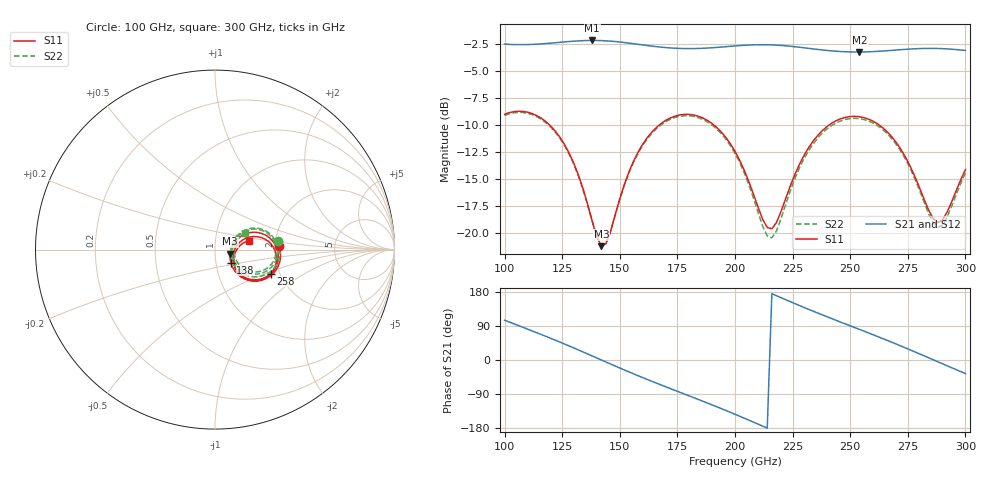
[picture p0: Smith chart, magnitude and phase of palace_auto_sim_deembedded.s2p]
! Created with skrf 1.11.0 (http://scikit-rf.org).
# GHz S DB R 50.0
!freq dBS11 angS11 dBS21 angS21 dBS12 angS12 dBS22 angS22
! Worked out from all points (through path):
!   101 points, 100 GHz to 300 GHz, reference 50 ohm
!   highest |S21| = -2.14 dB at 138 GHz (marker M1); lowest = -3.2 dB at 254 GHz (marker M2)
!   group delay of S21, straight-line fit = 6.95 ps
!   lowest |S11| = -21.2 dB at 142 GHz (marker M3), VSWR 1.19, Z = 59.1 - j2.69 ohm
!   |S11| at or under -10 dB: 119.7 GHz to 166.9 GHz (47.23 GHz wide, 33 % of centre); 191 GHz to 240.6 GHz (49.62 GHz wide, 23 % of centre); 262.8 GHz to end of sweep
!   |S22| runs from -21.1 to -8.8 dB; largest |S21 - S12| = 1.2e-12
!   S11 on the Smith chart (normalised r, x): 100 GHz: 2.10, +0.10; 138 GHz: 1.18, -0.17; 258 GHz: 1.80, -0.54; 300 GHz: 1.46, +0.15
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100  -8.97 3.4  -2.47 104.9  -2.47 104.9  -9.07 7.9
118  -9.66 -29.2  -2.42 62.2  -2.42 62.2  -9.76 -23.8
126  -11.77 -42.0  -2.27 42.2  -2.27 42.2  -11.86 -36.1
134  -15.84 -47.3  -2.16 21.4  -2.16 21.4  -15.90 -40.9
138  -18.85 -39.7  -2.14 10.8  -2.14 10.8  -18.85 -33.1
142  -21.18 -15.0  -2.15 0.1  -2.15 0.1  -21.10 -8.7
144  -20.95 1.3  -2.17 -5.2  -2.17 -5.2  -20.89 7.2
154  -14.29 27.3  -2.38 -31.5  -2.38 -31.5  -14.37 33.4
168  -9.81 9.1  -2.76 -66.1  -2.76 -66.1  -9.93 16.0
184  -9.15 -18.4  -2.88 -103.9  -2.88 -103.9  -9.28 -11.0
200  -12.41 -42.0  -2.64 -143.2  -2.64 -143.2  -12.59 -34.8
208  -16.35 -42.1  -2.54 -163.9  -2.54 -163.9  -16.72 -35.5
216  -19.57 -7.9  -2.55 174.9  -2.55 174.9  -20.41 1.3
224  -15.61 19.4  -2.67 154.0  -2.67 154.0  -16.06 31.2
234  -11.43 14.3  -2.92 128.6  -2.92 128.6  -11.69 26.0
244  -9.56 -0.4  -3.14 104.4  -3.14 104.4  -9.76 11.2
254  -9.19 -16.8  -3.20 80.8  -3.20 80.8  -9.37 -5.1
258  -9.42 -23.3  -3.19 71.3  -3.19 71.3  -9.60 -11.6
268  -11.04 -38.2  -3.06 47.0  -3.06 47.0  -11.21 -26.5
278  -14.70 -45.1  -2.91 21.6  -2.91 21.6  -14.91 -33.5
288  -18.98 -16.5  -2.88 -4.6  -2.88 -4.6  -19.43 -4.5
300  -14.10 14.8  -3.06 -35.7  -3.06 -35.7  -14.41 28.7
